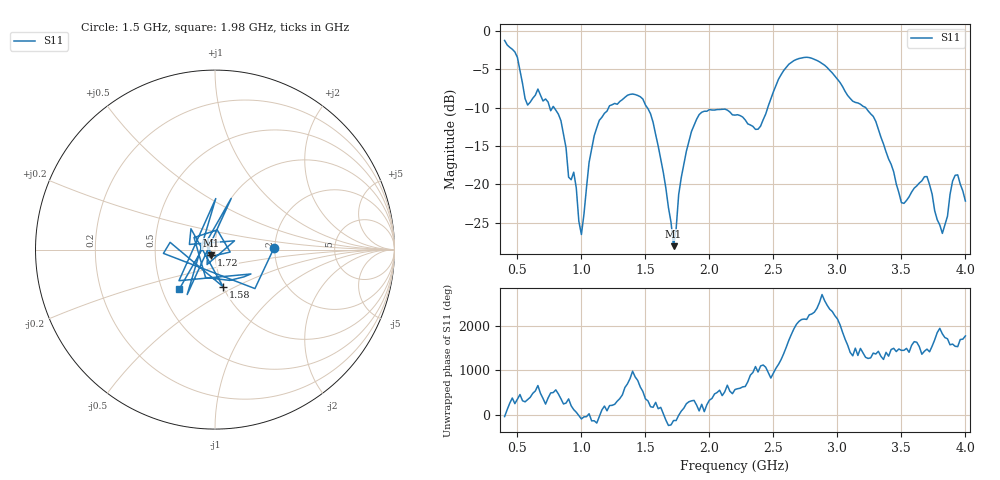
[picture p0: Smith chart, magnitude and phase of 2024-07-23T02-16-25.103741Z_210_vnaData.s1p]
!Created with skrf (http://scikit-rf.org).
# Hz S RI R 50.0
!freq ReS11 ImS11
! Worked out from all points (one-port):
!   181 points, 400 MHz to 4 GHz, reference 50 ohm
!   lowest |S11| = -28.1 dB at 1.72 GHz (marker M1), VSWR 1.08, Z = 47.6 - j3.03 ohm
!   |S11| at or under -10 dB: 786 MHz to 1.213 GHz (427.3 MHz wide, 42.7 % of centre); 1.514 GHz to 2.456 GHz (942.2 MHz wide, 47.5 % of centre); 3.221 GHz to end of sweep (the widest 3 of 4)
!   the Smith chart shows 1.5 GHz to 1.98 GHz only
!   S11 on the Smith chart (normalised r, x): 1.5 GHz: 1.98, +0.04; 1.58 GHz: 1.00, -0.43; 1.72 GHz: 0.95, -0.06; 1.98 GHz: 0.61, -0.30
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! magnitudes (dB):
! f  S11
! 400 MHz  -1.3
! 500 MHz  -3.5
! 580 MHz  -9.7
! 660 MHz  -7.6
! 860 MHz  -13.5
! 900 MHz  -19.1
! 940 MHz  -18.4
! 1 GHz  -26.5
! 1.1 GHz  -13.7
! 1.3 GHz  -9.2
! 1.5 GHz  -9.7
! 1.58 GHz  -13.5
! 1.72 GHz  -28.1
! 1.76 GHz  -21.3
! 1.86 GHz  -13.1
! 1.98 GHz  -10.5
! 2.2 GHz  -11.0
! 2.38 GHz  -12.8
! 2.66 GHz  -3.9
! 2.88 GHz  -4.3
! 3.1 GHz  -8.8
! 3.28 GHz  -11.2
! 3.5 GHz  -22.4
! 3.56 GHz  -21.6
! 3.7 GHz  -19.0
! 3.82 GHz  -26.4
! 3.92 GHz  -18.8
! 4 GHz  -22.2
